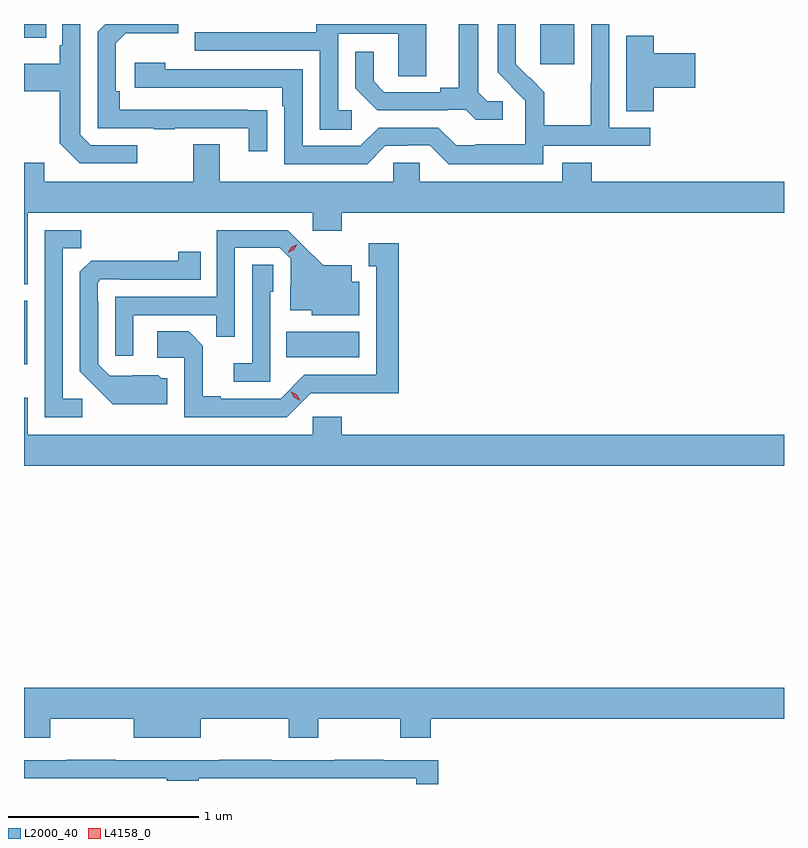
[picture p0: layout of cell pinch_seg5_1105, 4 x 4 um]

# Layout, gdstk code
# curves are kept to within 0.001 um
import gdstk
lib = gdstk.Library(unit=1e-6, precision=1e-09)
def R(c, l, rs):  # rectangles x0, y0, x1, y1
    for r in rs: c.add(gdstk.rectangle(r[:2], r[2:], *l))
def P(c, l, *ps):  # polygons
    for p in ps: c.add(gdstk.Polygon(p, *l))
L2000_40 = (2000, 40)
L4158_0 = (4158, 0)

pinch_seg5_1105 = lib.new_cell('pinch_seg5_1105')
R(pinch_seg5_1105, L2000_40, [(782.007,835.982,782.023,836.317), (783.388,836.018,783.772,836.152), (784.724,837.561,784.903,837.773), (782.007,837.701,782.123,837.773)])
P(pinch_seg5_1105, L2000_40, [(784.74,837.132),(785.302,837.132),(785.302,837.228),(785.088,837.228),(785.088,837.773),(784.992,837.773),(784.992,837.464),(784.99,837.464),(784.99,837.241),(784.745,837.241),(784.745,837.415),(784.668,837.492),(784.665,837.489),(784.595,837.56),(784.596,837.773),(784.5,837.773),(784.5,837.518),(784.646,837.37),(784.646,837.273),(784.644,837.273),(784.644,837.139),(784.381,837.139),(784.381,837.135),(784.281,837.135),(784.188,837.228),(783.873,837.228),(783.777,837.132),(783.474,837.132),(783.474,837.534),(782.75,837.534),(782.75,837.568),(782.589,837.568),(782.589,837.438),(783.365,837.438),(783.365,837.341),(783.378,837.341),(783.378,837.036),(783.813,837.036),(783.909,837.132),(784.028,837.132),(784.028,837.135),(784.143,837.135),(784.243,837.035),(784.74,837.035)],
  [(783.733,837.318),(783.66,837.318),(783.66,837.723),(783.978,837.723),(783.978,837.499),(784.123,837.499),(784.123,837.773),(783.545,837.773),(783.545,837.729),(782.905,837.729),(782.905,837.633),(783.564,837.633),(783.564,837.217),(783.733,837.217)],
  [(782.602,837.135),(782.358,837.135),(782.304,837.189),(782.304,837.773),(782.208,837.773),(782.208,837.661),(782.196,837.661),(782.196,837.565),(782.007,837.565),(782.007,837.418),(782.196,837.418),(782.196,837.145),(782.301,837.039),(782.602,837.039)],
  [(784.528,837.366),(784.446,837.366),(784.399,837.413),(784.399,837.773),(784.295,837.773),(784.295,837.437),(784.199,837.437),(784.199,837.414),(783.904,837.414),(783.847,837.471),(783.847,837.628),(783.75,837.628),(783.75,837.434),(783.866,837.318),(784.238,837.318),(784.238,837.321),(784.332,837.321),(784.384,837.269),(784.528,837.269)],
  [(783.287,837.32),(782.51,837.321),(782.51,837.418),(782.49,837.418),(782.49,837.672),(782.543,837.725),(782.82,837.725),(782.82,837.773),(782.435,837.773),(782.394,837.732),(782.394,837.225),(782.689,837.225),(782.689,837.22),(782.801,837.22),(782.801,837.225),(783.191,837.225),(783.191,837.102),(783.287,837.102)],
  [(785.321,837.437),(785.539,837.437),(785.539,837.62),(785.321,837.62),(785.321,837.71),(785.177,837.71),(785.177,837.313),(785.321,837.313)],
  [(783.037,837.139),(782.897,837.139),(782.897,836.944),(782.113,836.944),(782.113,837.043),(782.007,837.043),(782.007,836.402),(782.026,836.402),(782.026,836.78),(783.528,836.78),(783.528,836.685),(783.68,836.685),(783.68,836.78),(786.007,836.78),(786.007,836.944),(784.994,836.944),(784.994,837.043),(784.841,837.043),(784.841,836.944),(784.089,836.944),(784.089,837.042),(783.951,837.042),(783.951,836.944),(783.037,836.944)],
  [(782.583,836.241),(783.019,836.241),(783.019,836.128),(783.117,836.128),(783.117,836.595),(783.354,836.595),(783.411,836.538),(783.411,836.396),(783.407,836.396),(783.407,836.267),(783.522,836.267),(783.522,836.24),(783.772,836.24),(783.772,836.416),(783.733,836.416),(783.733,836.503),(783.581,836.503),(783.394,836.688),(783.021,836.688),(783.021,836.337),(782.487,836.337),(782.487,836.028),(782.583,836.028)],
  [(782.314,835.8),(782.211,835.8),(782.211,836.593),(782.307,836.593),(782.307,836.688),(782.115,836.688),(782.115,835.704),(782.314,835.704)],
  [(783.516,835.83),(783.979,835.829),(783.979,836.62),(783.821,836.62),(783.821,836.499),(783.86,836.499),(783.86,835.926),(783.483,835.926),(783.357,835.8),(783.043,835.8),(783.043,835.813),(782.949,835.813),(782.949,836.08),(782.873,836.156),(782.709,836.156),(782.709,836.016),(782.85,836.016),(782.85,835.704),(783.39,835.704)],
  [(782.761,835.908),(782.73,835.908),(782.714,835.924),(782.457,835.923),(782.397,835.983),(782.397,836.312),(782.394,836.312),(782.394,836.412),(782.412,836.43),(782.512,836.43),(782.512,836.427),(782.936,836.427),(782.936,836.575),(782.818,836.575),(782.818,836.528),(782.36,836.527),(782.301,836.468),(782.301,835.946),(782.473,835.772),(782.761,835.772)],
  [(783.303,836.364),(783.318,836.364),(783.318,836.507),(783.207,836.507),(783.207,835.987),(783.111,835.987),(783.111,835.89),(783.303,835.89)],
  [(786.007,835.612),(783.68,835.612),(783.68,835.705),(783.528,835.705),(783.528,835.612),(782.026,835.612),(782.026,835.807),(782.007,835.807),(782.007,835.448),(786.007,835.448)],
  [(782.145,834.116),(782.585,834.116),(782.585,834.017),(782.938,834.017),(782.938,834.116),(783.4,834.116),(783.4,834.017),(783.555,834.017),(783.555,834.116),(783.988,834.116),(783.988,834.017),(784.148,834.017),(784.148,834.116),(786.007,834.116),(786.007,834.28),(782.007,834.28),(782.007,834.017),(782.145,834.017)],
  [(784.187,833.898),(783.899,833.898),(783.899,833.9),(783.643,833.9),(783.643,833.898),(783.311,833.898),(783.311,833.9),(783.034,833.9),(783.034,833.898),(782.489,833.898),(782.489,833.9),(782.233,833.9),(782.233,833.898),(782.007,833.898),(782.007,833.802),(782.758,833.802),(782.758,833.79),(782.927,833.79),(782.927,833.802),(784.071,833.802),(784.071,833.773),(784.187,833.773)])
P(pinch_seg5_1105, L4158_0, [(783.46,835.789),(783.428,835.808),(783.411,835.84),(783.411,835.841),(783.412,835.841),(783.443,835.821),(783.46,835.789),(783.46,835.789)],
  [(783.395,836.57),(783.395,836.57),(783.413,836.599),(783.444,836.614),(783.445,836.614),(783.445,836.614),(783.427,836.584),(783.396,836.57)])

lib.write_gds('pinch_seg5_1105.gds')
